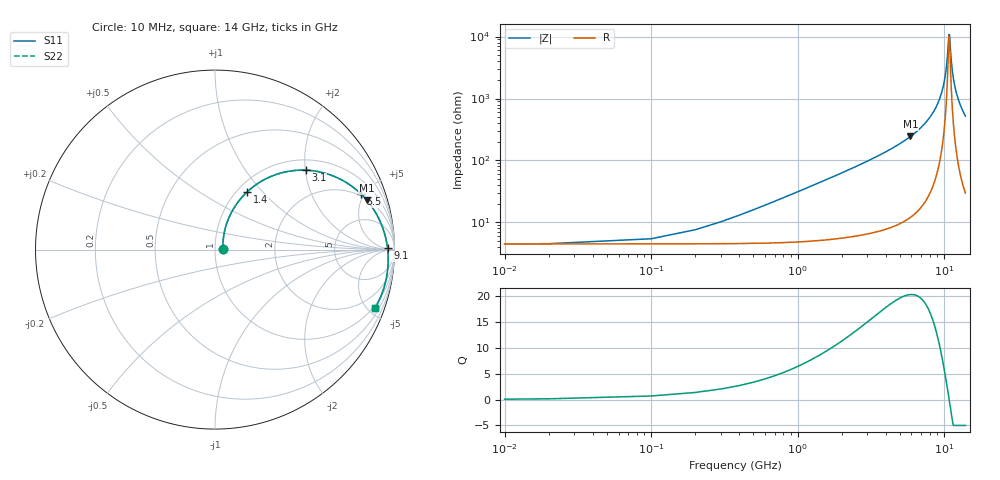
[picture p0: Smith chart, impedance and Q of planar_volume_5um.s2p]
! Created with skrf 1.12.0 (http://scikit-rf.org).
# GHz S DB R 50.0
!freq dBS11 angS11 dBS21 angS21 dBS12 angS12 dBS22 angS22
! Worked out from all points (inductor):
!   142 points, 10 MHz to 14 GHz, reference 50 ohm
!   read as one part in series: L = 4.86 nH near 500 MHz
!   highest Q = 20.2 at 5.9 GHz (marker M1), where L = 6.57 nH
!   self-resonance near 10.8 GHz
!   S11 on the Smith chart (normalised r, x): 10 MHz: 1.09, +0.01; 1.4 GHz: 1.11, +0.83; 3.1 GHz: 1.25, +2.01; 5.5 GHz: 1.86, +4.76; 9.1 GHz: 49, +10; 14 GHz: 0.83, -5.54
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0.01  -27.32 3.4  -0.38 -0.2  -0.38 -0.2  -27.32 3.4
0.4  -18.62 62.7  -0.47 -7.1  -0.47 -7.1  -18.63 62.7
0.6  -15.41 66.1  -0.56 -10.5  -0.56 -10.5  -15.42 66.1
1  -11.26 64.9  -0.81 -17.1  -0.81 -17.1  -11.26 64.9
1.4  -8.63 60.8  -1.16 -23.3  -1.16 -23.3  -8.64 60.8
2.4  -4.91 48.9  -2.35 -37.2  -2.35 -37.2  -4.91 48.9
3.1  -3.46 41.2  -3.38 -45.5  -3.38 -45.5  -3.46 41.2
4.7  -1.68 26.7  -6.17 -60.6  -6.17 -60.6  -1.68 26.7
5.5  -1.20 20.8  -7.77 -66.6  -7.77 -66.6  -1.20 20.8
5.9  -1.02 18.1  -8.64 -69.3  -8.64 -69.3  -1.02 18.1
7.1  -0.64 10.7  -11.57 -76.4  -11.57 -76.4  -0.64 10.7
9.1  -0.34 0.4  -18.89 -84.7  -18.89 -84.7  -0.34 0.4
9.4  -0.32 -1.0  -20.61 -85.2  -20.61 -85.2  -0.32 -1.0
9.9  -0.30 -3.2  -24.39 -84.7  -24.39 -84.7  -0.30 -3.2
10.3  -0.28 -5.0  -29.09 -80.7  -29.09 -80.7  -0.28 -5.0
10.5  -0.28 -5.9  -32.72 -74.2  -32.72 -74.2  -0.28 -5.9
10.8  -0.28 -7.2  -40.98 -26.4  -40.98 -26.4  -0.28 -7.2
10.9  -0.28 -7.6  -40.93 13.1  -40.93 13.1  -0.28 -7.6
11.3  -0.28 -9.3  -30.90 63.8  -30.90 63.8  -0.28 -9.3
11.7  -0.29 -10.9  -25.77 69.8  -25.77 69.8  -0.29 -10.9
12.6  -0.33 -14.6  -19.79 70.7  -19.79 70.7  -0.33 -14.6
14  -0.45 -20.0  -14.97 67.0  -14.97 67.0  -0.45 -20.0
